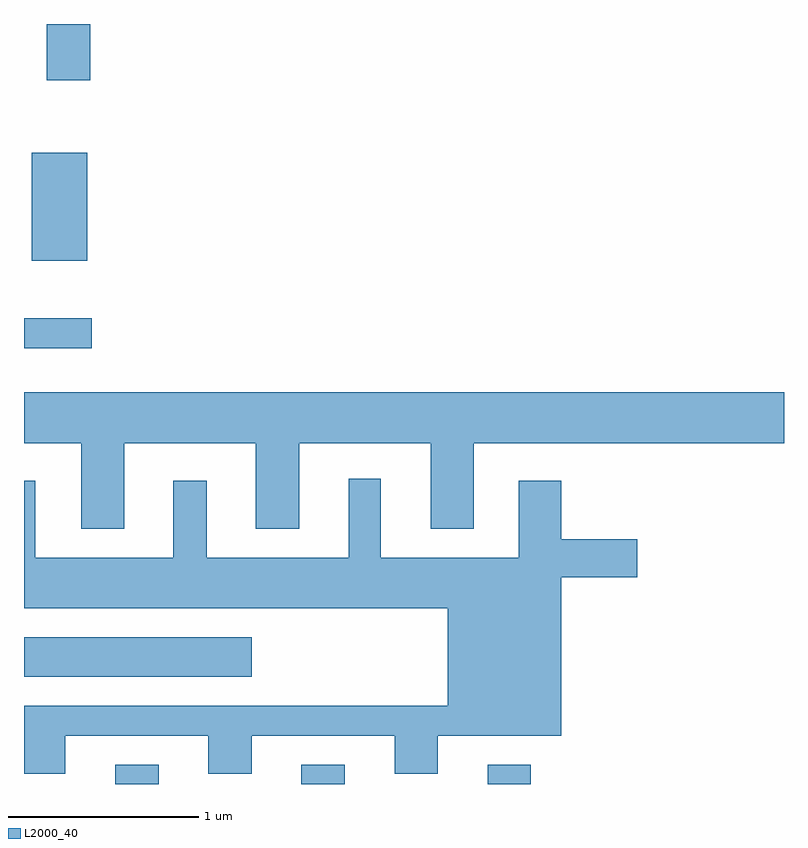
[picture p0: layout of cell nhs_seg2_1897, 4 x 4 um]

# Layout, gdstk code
import gdstk
lib = gdstk.Library(unit=1e-6, precision=1e-09)
def R(c, l, rs):  # rectangles x0, y0, x1, y1
    for r in rs: c.add(gdstk.rectangle(r[:2], r[2:], *l))
def A(c, l, x, y, w, h, nx, ny, dx, dy):  # array of equal rectangles
    R(c, l, [(x+i*dx, y+j*dy, x+i*dx+w, y+j*dy+h) for i in range(nx) for j in range(ny)])
def P(c, l, *ps):  # polygons
    for p in ps: c.add(gdstk.Polygon(p, *l))
L2000_40 = (2000, 40)

nhs_seg2_1897 = lib.new_cell('nhs_seg2_1897')
A(nhs_seg2_1897, L2000_40, 240.091, 1099.802, 0.228, 0.102, 3, 1, 0.98, 0)
R(nhs_seg2_1897, L2000_40, [(239.611,1100.366,240.809,1100.574), (239.611,1102.096,239.968,1102.254), (239.651,1102.556,239.944,1103.124), (239.731,1103.506,239.959,1103.802)])
P(nhs_seg2_1897, L2000_40, [(240.139,1101.596),(240.831,1101.596),(240.831,1101.146),(241.059,1101.146),(241.059,1101.596),(241.751,1101.596),(241.751,1101.146),(241.979,1101.146),(241.979,1101.596),(243.611,1101.596),(243.611,1101.864),(239.611,1101.864),(239.611,1101.596),(239.911,1101.596),(239.911,1101.146),(240.139,1101.146)],
  [(239.829,1100.056),(240.581,1100.056),(240.581,1099.856),(240.809,1099.856),(240.809,1100.056),(241.561,1100.056),(241.561,1099.856),(241.789,1099.856),(241.789,1100.056),(242.439,1100.056),(242.439,1100.891),(242.839,1100.891),(242.839,1101.089),(242.439,1101.089),(242.439,1101.399),(242.216,1101.399),(242.216,1100.994),(241.489,1100.994),(241.489,1101.408),(241.321,1101.408),(241.321,1100.994),(240.574,1100.994),(240.574,1101.399),(240.396,1101.399),(240.396,1100.994),(239.669,1100.994),(239.669,1101.399),(239.611,1101.399),(239.611,1100.726),(241.841,1100.726),(241.841,1100.214),(239.611,1100.214),(239.611,1099.856),(239.829,1099.856)])

lib.write_gds('nhs_seg2_1897.gds')
